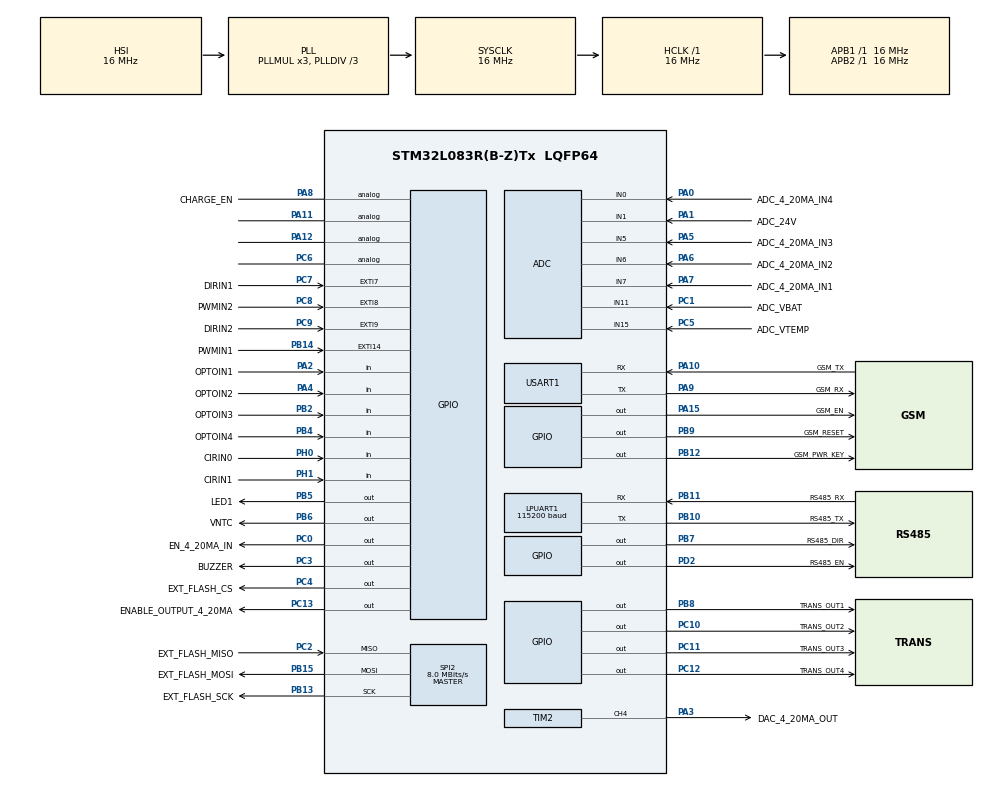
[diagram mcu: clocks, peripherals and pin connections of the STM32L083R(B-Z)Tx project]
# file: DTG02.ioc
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ADC.ClockPrescaler=ADC_CLOCK_SYNC_PCLK_DIV1
ADC.EOCSelection=ADC_EOC_SINGLE_CONV
ADC.LowPowerAutoPowerOff=DISABLE
ADC.LowPowerFrequencyMode=ENABLE
ADC.SamplingTime=ADC_SAMPLETIME_160CYCLES_5
Dma.Request0=USART1_RX
Dma.Request1=USART1_TX
Dma.USART1_RX.0.Direction=DMA_PERIPH_TO_MEMORY
Dma.USART1_RX.0.Instance=DMA1_Channel3
Dma.USART1_RX.0.MemDataAlignment=DMA_MDATAALIGN_BYTE
Dma.USART1_RX.0.MemInc=DMA_MINC_ENABLE
Dma.USART1_RX.0.Mode=DMA_CIRCULAR
Dma.USART1_RX.0.PeriphDataAlignment=DMA_PDATAALIGN_BYTE
Dma.USART1_RX.0.PeriphInc=DMA_PINC_DISABLE
Dma.USART1_RX.0.Priority=DMA_PRIORITY_LOW
Dma.USART1_TX.1.Direction=DMA_MEMORY_TO_PERIPH
Dma.USART1_TX.1.Instance=DMA1_Channel2
Dma.USART1_TX.1.MemDataAlignment=DMA_MDATAALIGN_BYTE
Dma.USART1_TX.1.MemInc=DMA_MINC_ENABLE
Dma.USART1_TX.1.Mode=DMA_NORMAL
Dma.USART1_TX.1.PeriphDataAlignment=DMA_PDATAALIGN_BYTE
Dma.USART1_TX.1.PeriphInc=DMA_PINC_DISABLE
Dma.USART1_TX.1.Priority=DMA_PRIORITY_LOW
IWDG.Prescaler=IWDG_PRESCALER_256
LPUART1.BaudRate=115200
LPUART1.WordLength=UART_WORDLENGTH_8B
Mcu.Family=STM32L0
Mcu.Name=STM32L083R(B-Z)Tx
Mcu.Package=LQFP64
NVIC.AES_RNG_LPUART1_IRQn=true\:0\:0\:false\:false\:true\:true\:true
NVIC.DMA1_Channel2_3_IRQn=true\:0\:0\:false\:false\:true\:false\:true
NVIC.EXTI4_15_IRQn=true\:0\:0\:false\:false\:true\:true\:true
NVIC.RTC_IRQn=true\:0\:0\:false\:false\:true\:true\:true
NVIC.USART1_IRQn=true\:0\:0\:false\:false\:true\:true\:true
PA0.GPIO_Label=ADC_4_20MA_IN4
PA0.Mode=IN0
PA0.Signal=ADC_IN0
PA1.GPIO_Label=ADC_24V
PA1.Mode=IN1
PA1.Signal=ADC_IN1
PA10.GPIO_Label=GSM_TX
PA10.Mode=Asynchronous
PA10.Signal=USART1_RX
PA11.Signal=GPIO_Analog
PA12.Signal=GPIO_Analog
PA13.Mode=Serial_Wire
PA13.Signal=SYS_SWDIO
PA14.Mode=Serial_Wire
PA14.Signal=SYS_SWCLK
PA15.GPIO_Label=GSM_EN
PA15.Signal=GPIO_Output
PA2.GPIO_Label=OPTOIN1
PA2.Signal=GPIO_Input
PA3.GPIO_Label=DAC_4_20MA_OUT
PA3.Signal=S_TIM2_CH4
PA4.GPIO_Label=OPTOIN2
PA4.Signal=GPIO_Input
PA5.GPIO_Label=ADC_4_20MA_IN3
PA5.Mode=IN5
PA5.Signal=ADC_IN5
PA6.GPIO_Label=ADC_4_20MA_IN2
PA6.Mode=IN6
PA6.Signal=ADC_IN6
PA7.GPIO_Label=ADC_4_20MA_IN1
PA7.Mode=IN7
PA7.Signal=ADC_IN7
PA8.GPIO_Label=CHARGE_EN
PA8.Signal=GPIO_Analog
PA9.GPIO_Label=GSM_RX
PA9.Mode=Asynchronous
PA9.Signal=USART1_TX
PB10.GPIO_Label=RS485_TX
PB10.Mode=Asynchronous
PB10.Signal=LPUART1_TX
PB11.GPIO_Label=RS485_RX
PB11.Mode=Asynchronous
PB11.Signal=LPUART1_RX
PB12.GPIO_Label=GSM_PWR_KEY
PB12.Signal=GPIO_Output
PB13.GPIO_Label=EXT_FLASH_SCK
PB13.Mode=Full_Duplex_Master
PB13.Signal=SPI2_SCK
PB14.GPIO_Label=PWMIN1
PB14.Signal=GPXTI14
PB15.GPIO_Label=EXT_FLASH_MOSI
PB15.Mode=Full_Duplex_Master
PB15.Signal=SPI2_MOSI
PB2.GPIO_Label=OPTOIN3
PB2.Signal=GPIO_Input
PB4.GPIO_Label=OPTOIN4
PB4.Signal=GPIO_Input
PB5.GPIO_Label=LED1
PB5.Signal=GPIO_Output
PB6.GPIO_Label=VNTC
PB6.Signal=GPIO_Output
PB7.GPIO_Label=RS485_DIR
PB7.Signal=GPIO_Output
PB8.GPIO_Label=TRANS_OUT1
PB8.Signal=GPIO_Output
PB9.GPIO_Label=GSM_RESET
PB9.Signal=GPIO_Output
PC0.GPIO_Label=EN_4_20MA_IN
PC0.Signal=GPIO_Output
PC1.GPIO_Label=ADC_VBAT
PC1.Mode=IN11
PC1.Signal=ADC_IN11
PC10.GPIO_Label=TRANS_OUT2
PC10.Signal=GPIO_Output
PC11.GPIO_Label=TRANS_OUT3
PC11.Signal=GPIO_Output
PC12.GPIO_Label=TRANS_OUT4
PC12.Signal=GPIO_Output
PC13.GPIO_Label=ENABLE_OUTPUT_4_20MA
PC13.Signal=GPIO_Output
PC14-OSC32_IN.Mode=LSE-External-Oscillator
PC14-OSC32_IN.Signal=RCC_OSC32_IN
PC15-OSC32_OUT.Mode=LSE-External-Oscillator
PC15-OSC32_OUT.Signal=RCC_OSC32_OUT
PC2.GPIO_Label=EXT_FLASH_MISO
PC2.Mode=Full_Duplex_Master
PC2.Signal=SPI2_MISO
PC3.GPIO_Label=BUZZER
PC3.Signal=GPIO_Output
PC4.GPIO_Label=EXT_FLASH_CS
PC4.Signal=GPIO_Output
PC5.GPIO_Label=ADC_VTEMP
PC5.Mode=IN15
PC5.Signal=ADC_IN15
PC6.Signal=GPIO_Analog
PC7.GPIO_Label=DIRIN1
PC7.Signal=GPXTI7
PC8.GPIO_Label=PWMIN2
PC8.Signal=GPXTI8
PC9.GPIO_Label=DIRIN2
PC9.Signal=GPXTI9
PD2.GPIO_Label=RS485_EN
PD2.Signal=GPIO_Output
PH0-OSC_IN.GPIO_Label=CIRIN0
PH0-OSC_IN.Signal=GPIO_Input
PH1-OSC_OUT.GPIO_Label=CIRIN1
PH1-OSC_OUT.Signal=GPIO_Input
ProjectManager.HeapSize=0x200
ProjectManager.StackSize=0x400
ProjectManager.TargetToolchain=MDK-ARM V5.27
RCC.AHBFreq_Value=16000000
RCC.APB1Freq_Value=16000000
RCC.APB1TimFreq_Value=16000000
RCC.APB2Freq_Value=16000000
RCC.APB2TimFreq_Value=16000000
RCC.HCLKFreq_Value=16000000
RCC.HSE_VALUE=8000000
RCC.HSI16_VALUE=16000000
RCC.HSI48_VALUE=48000000
RCC.HSI_VALUE=16000000
RCC.LSE_Drive_Capability=RCC_LSEDRIVE_MEDIUMLOW
RCC.MSIClockRange=RCC_MSIRANGE_6
RCC.MSI_VALUE=4194000
RCC.PLLDIV=RCC_PLLDIV_3
RCC.RTCClockSelectionVirtual=RCC_RTCCLKSOURCE_LSE
RCC.SYSCLKFreq_VALUE=16000000
RCC.SYSCLKSource=RCC_SYSCLKSOURCE_PLLCLK
RCC.VCOOutputFreq_Value=48000000
RTC.SynchPrediv=289
RTC.WakeUpClock-WakeUp=RTC_WAKEUPCLOCK_RTCCLK_DIV16
RTC.WakeUpCounter-WakeUp=18
SH.S_TIM2_CH4.0=TIM2_CH4,PWM Generation4 CH4
SPI2.CalculateBaudRate=8.0 MBits/s
SPI2.Direction=SPI_DIRECTION_2LINES
SPI2.Mode=SPI_MODE_MASTER
SPI2.VirtualType=VM_MASTER
TIM2.AutoReloadPreload=TIM_AUTORELOAD_PRELOAD_ENABLE
TIM2.Channel-PWM\ Generation4\ CH4=TIM_CHANNEL_4
TIM2.ClockDivision=TIM_CLOCKDIVISION_DIV1
TIM2.Period=4095
TIM2.Prescaler=1
USART1.VirtualMode-Asynchronous=VM_ASYNC
VP_ADC_TempSens_Input.Mode=IN-TempSens
VP_ADC_Vref_Input.Mode=IN-Vrefint
VP_IWDG_VS_IWDG.Mode=IWDG_Activate
VP_RTC_VS_RTC_Activate.Mode=RTC_Enabled
VP_RTC_VS_RTC_Calendar.Mode=RTC_Calendar
VP_RTC_VS_RTC_WakeUp_intern.Mode=WakeUp
VP_TIM2_VS_ClockSourceINT.Mode=Internal
board=custom

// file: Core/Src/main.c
/* USER CODE BEGIN Header */
/**
  ******************************************************************************
  * @file           : main.c
  * @brief          : Main program body
  ******************************************************************************
  * @attention
  *
  * <h2><center>&copy; Copyright (c) 2021 STMicroelectronics.
  * All rights reserved.</center></h2>
  *
  * This software component is licensed by ST under BSD 3-Clause license,
  * the "License"; You may not use this file except in compliance with the
  * License. You may obtain a copy of the License at:
  *                        opensource.org/licenses/BSD-3-Clause
  *
  ******************************************************************************
  */
/* USER CODE END Header */
#include "main.h"
#include "adc.h"
#include "dma.h"
#include "iwdg.h"
#include "usart.h"
#include "rtc.h"
#include "spi.h"
#include "tim.h"
#include "gpio.h"

/* USER CODE BEGIN Includes */
#include "app_eeprom.h"
#include "measure_input.h"
#include "lpf.h"
#include "stdbool.h"
#include "app_cli.h"
#include "app_wdt.h"
#include "app_sync.h"
#include "hardware_manager.h"
#include "app_bkup.h"
#include "control_output.h"
#include "gsm.h"
#include "hardware.h"
#include "modbus_master.h"
#include "string.h"
#include "sys_ctx.h"
#include "app_rtc.h"
#include "app_debug.h"
#include "app_spi_flash.h"
#include "ota_update.h"
#include "flash_if.h"
#include "version_control.h"
/* USER CODE END Includes */

/* USER CODE BEGIN PTD */
#define WAKEUP_RESET_WDT_IN_LOW_POWER_MODE            28000    // ( ~16s)
#define DEBUG_LOW_POWER                                 1
#define DISABLE_GPIO_ENTER_LOW_POWER_MODE               0
#define TEST_POWER_ALWAYS_TURN_OFF_GSM                  0
#define TEST_OUTPUT_4_20MA                              0
#define TEST_RS485                                      0
#define TEST_INPUT_4_20_MA                              0
#define MAX_DISCONNECTED_TIMEOUT_S                      60
#define TEST_BACKUP_REGISTER                            0
/* USER CODE END PTD */

/* USER CODE BEGIN PD */
#define GSM_ENABLE					1
/* USER CODE END PD */

void SystemClock_Config(void);

/* USER CODE BEGIN 0 */
/* memory for ummalloc */
uint8_t g_umm_heap[UMM_MALLOC_CFG_HEAP_SIZE];
static volatile uint32_t m_delay_afer_wakeup_from_deep_sleep_to_measure_data;
static void task_feed_wdt(void *arg);
static void gsm_mnr_task(void *arg);
static void info_task(void *arg);
volatile uint32_t led_blink_delay = 0;
void sys_config_low_power_mode(void);
extern volatile uint32_t measure_input_turn_on_in_4_20ma_power;
/* USER CODE END 0 */

int main(void)
{
  /* USER CODE BEGIN 1 */

	hardware_manager_get_reset_reason();
  /* USER CODE END 1 */

  /* MCU Configuration--------------------------------------------------------*/

  /* Reset of all peripherals, Initializes the Flash interface and the Systick. */
  HAL_Init();

  /* USER CODE BEGIN Init */
    app_eeprom_init();
	app_eeprom_config_data_t *eeprom_cfg = app_eeprom_read_config_data();
    sys_ctx_t *system = sys_ctx();
#if TEST_OUTPUT_4_20MA
	eeprom_cfg->io_enable.name.output_4_20ma_enable = 1;
    system->status.is_enter_test_mode = 1;
#endif
//#if TEST_INPUT_4_20_MA
//    eeprom_cfg->io_enable.name.input_4_20ma_enable = 1;
//    system->status.is_enter_test_mode = 1;
//#endif
  /* USER CODE END Init */

  /* Configure the system clock */
  SystemClock_Config();

  /* USER CODE BEGIN SysInit */
    __enable_irq();
#if 1
  /* USER CODE END SysInit */

  /* Initialize all configured peripherals */
  MX_GPIO_Init();
  MX_DMA_Init();
  MX_IWDG_Init();
  MX_RTC_Init();
  MX_ADC_Init();
  MX_USART1_UART_Init();
  MX_TIM2_Init();
  MX_LPUART1_UART_Init();
  MX_SPI2_Init();
  /* USER CODE BEGIN 2 */
#endif
//	HAL_ADC
//    __HAL_DBGMCU_FREEZE_IWDG();     // stop watchdog in debug mode
    ENABLE_INPUT_4_20MA_POWER(0);
    RS485_POWER_EN(0);
    for (uint32_t i = 0; i < 4; i++)
    {
        LED1(1);
        sys_delay_ms(20);
        LED1(0);
        sys_delay_ms(20);
    }
    LED1(0);

//	DEBUG_RAW(RTT_CTRL_CLEAR);
    gpio_config_input_as_wakeup_source();
    system->peripheral_running.name.flash_running = 1;
    system->peripheral_running.name.rs485_running = 1;
	app_cli_start();
	app_bkup_init();
    app_spi_flash_initialize();
	measure_input_initialize();
	control_ouput_init();
	adc_start();
	gsm_init_hw();
	BUZZER(0);
	app_sync_config_t config;
	config.get_ms = sys_get_ms;
	config.polling_interval_ms = 1;
	app_sync_sytem_init(&config);

	app_sync_register_callback(task_feed_wdt, 15000, SYNC_DRV_REPEATED, SYNC_DRV_SCOPE_IN_LOOP);
	app_sync_register_callback(gsm_mnr_task, 1000, SYNC_DRV_REPEATED, SYNC_DRV_SCOPE_IN_LOOP);
	app_sync_register_callback(info_task, 1000, SYNC_DRV_REPEATED, SYNC_DRV_SCOPE_IN_LOOP);

    ota_flash_cfg_t *ota_cfg = ota_update_get_config();

#if TEST_OUTPUT_4_20MA
	eeprom_cfg->io_enable.name.output_4_20ma_enable = 1;
	eeprom_cfg->output_4_20ma = 10;
	eeprom_cfg->io_enable.name.output_4_20ma_timeout_100ms = 100;
	control_output_dac_enable(1000000);
    system->status.is_enter_test_mode = 1;
    eeprom_cfg->io_enable.name.input_4_20ma_enable = 1;
#endif
#if TEST_INPUT_4_20_MA
    eeprom_cfg->io_enable.name.input_4_20ma_enable = 1;
    system->status.is_enter_test_mode = 1;
#endif
    DEBUG_INFO("Server addr %s\r\n", eeprom_cfg->server_addr);
    DEBUG_PRINTF("Build %s %s, version %s\r\nOTA flag 0x%08X, info %s\r\n", __DATE__, __TIME__,
                                                                            VERSION_CONTROL_FW,
                                                                            ota_cfg->flag, (uint8_t*)ota_cfg->reserve);
#if TEST_BACKUP_REGISTER
    for(uint32_t i = 0; i < 4; i++)
    {
        app_bkup_write_pulse_counter(i, i*2, i*3, i*4);
    }
    app_bkup_write_pulse_counter(0, 0, 0, 0);
#endif
  /* USER CODE END 2 */

  /* Infinite loop */
  /* USER CODE BEGIN WHILE */
  while (1)
  {
#if GSM_ENABLE
	gsm_hw_layer_run();
#endif

#if TEST_POWER_ALWAYS_TURN_OFF_GSM
    if (!gsm_data_layer_is_module_sleeping())
    {
        gsm_change_state(GSM_STATE_SLEEP);
    }
#endif
	control_ouput_task();
	measure_input_task();
	app_cli_poll();
	app_sync_polling_task();
	if (led_blink_delay)
	{
		LED1(1);
#ifdef DTG01
		LED2(1);
#endif
	}
	else
	{
		LED1(0);
#ifdef DTG01
		LED2(0);
#endif
	}
	if (system->status.is_enter_test_mode)
	{
		eeprom_cfg->io_enable.name.output_4_20ma_enable = 1;
		if (eeprom_cfg->output_4_20ma < 1.0f)
			eeprom_cfg->output_4_20ma = 10;
		eeprom_cfg->io_enable.name.output_4_20ma_timeout_100ms = 100;
		control_output_dac_enable(1000000);
		eeprom_cfg->io_enable.name.rs485_en = 1;
		ENABLE_INPUT_4_20MA_POWER(1);
        RS485_POWER_EN(1);
        usart_lpusart_485_control(1);
	}

    if (!eeprom_cfg->io_enable.name.rs485_en
        && system->status.is_enter_test_mode == 0)
    {
        system->peripheral_running.name.rs485_running = 0;
        usart_lpusart_485_control(0);
    }

    if (!eeprom_cfg->io_enable.name.input_4_20ma_enable)
    {
        ENABLE_INPUT_4_20MA_POWER(0);
        system->peripheral_running.name.wait_for_input_4_20ma_power_on = 0;
        measure_input_turn_on_in_4_20ma_power = 0;
    }

    if (gsm_data_layer_is_module_sleeping())
    {
        system->peripheral_running.name.gsm_running = 0;
        if (system->peripheral_running.name.flash_running)
        {
            app_spi_flash_shutdown();
            spi_deinit();
            system->peripheral_running.name.flash_running = 0;
        }

        usart1_control(false);
        GSM_PWR_EN(0);
        GSM_PWR_RESET(0);
        GSM_PWR_KEY(0);
    }
    else
    {
        system->peripheral_running.name.gsm_running = 1;
    }

    if (ota_update_is_running())
    {
//        system->status.sleep_time_s = 0;
        system->status.disconnect_timeout_s = 0;
    }

	if (eeprom_cfg->io_enable.name.rs485_en)
	{
		RS485_POWER_EN(eeprom_cfg->io_enable.name.rs485_en);
	}

    if (system->peripheral_running.value == 0)
    {
        adc_stop();
        if (system->status.is_enter_test_mode == 0)
        {
            sys_config_low_power_mode();
        }
    }
    BUZZER(0);
#ifdef WDT_ENABLE
    LL_IWDG_ReloadCounter(IWDG);
#endif
//	__WFI();
    /* USER CODE END WHILE */

  }
}

void SystemClock_Config(void)
{
  RCC_OscInitTypeDef RCC_OscInitStruct = {0};
  RCC_ClkInitTypeDef RCC_ClkInitStruct = {0};
  RCC_PeriphCLKInitTypeDef PeriphClkInit = {0};

  /** Configure the main internal regulator output voltage
  */
  __HAL_PWR_VOLTAGESCALING_CONFIG(PWR_REGULATOR_VOLTAGE_SCALE1);
  /** Configure LSE Drive Capability
  */
  HAL_PWR_EnableBkUpAccess();
  __HAL_RCC_LSEDRIVE_CONFIG(RCC_LSEDRIVE_MEDIUMLOW);
  /** Initializes the RCC Oscillators according to the specified parameters
  * in the RCC_OscInitTypeDef structure.
  */
  RCC_OscInitStruct.OscillatorType = RCC_OSCILLATORTYPE_HSI|RCC_OSCILLATORTYPE_LSI
                              |RCC_OSCILLATORTYPE_LSE;
  RCC_OscInitStruct.LSEState = RCC_LSE_ON;
  RCC_OscInitStruct.HSIState = RCC_HSI_ON;
  RCC_OscInitStruct.HSICalibrationValue = RCC_HSICALIBRATION_DEFAULT;
  RCC_OscInitStruct.LSIState = RCC_LSI_ON;
  RCC_OscInitStruct.PLL.PLLState = RCC_PLL_ON;
  RCC_OscInitStruct.PLL.PLLSource = RCC_PLLSOURCE_HSI;
  RCC_OscInitStruct.PLL.PLLMUL = RCC_PLLMUL_3;
  RCC_OscInitStruct.PLL.PLLDIV = RCC_PLLDIV_3;
  if (HAL_RCC_OscConfig(&RCC_OscInitStruct) != HAL_OK)
  {
    Error_Handler();
  }
  /** Initializes the CPU, AHB and APB buses clocks
  */
  RCC_ClkInitStruct.ClockType = RCC_CLOCKTYPE_HCLK|RCC_CLOCKTYPE_SYSCLK
                              |RCC_CLOCKTYPE_PCLK1|RCC_CLOCKTYPE_PCLK2;
  RCC_ClkInitStruct.SYSCLKSource = RCC_SYSCLKSOURCE_PLLCLK;
  RCC_ClkInitStruct.AHBCLKDivider = RCC_SYSCLK_DIV1;
  RCC_ClkInitStruct.APB1CLKDivider = RCC_HCLK_DIV1;
  RCC_ClkInitStruct.APB2CLKDivider = RCC_HCLK_DIV1;

  if (HAL_RCC_ClockConfig(&RCC_ClkInitStruct, FLASH_LATENCY_0) != HAL_OK)
  {
    Error_Handler();
  }
  PeriphClkInit.PeriphClockSelection = RCC_PERIPHCLK_USART1|RCC_PERIPHCLK_LPUART1
                              |RCC_PERIPHCLK_RTC;
  PeriphClkInit.Usart1ClockSelection = RCC_USART1CLKSOURCE_PCLK2;
  PeriphClkInit.Lpuart1ClockSelection = RCC_LPUART1CLKSOURCE_PCLK1;
  PeriphClkInit.RTCClockSelection = RCC_RTCCLKSOURCE_LSE;
  if (HAL_RCCEx_PeriphCLKConfig(&PeriphClkInit) != HAL_OK)
  {
    Error_Handler();
  }
}

/* USER CODE BEGIN 4 */

uint32_t sys_get_ms()
{
	return uwTick;
}

void sys_delay_ms(uint32_t ms)
{
	uint32_t current_tick = HAL_GetTick();

	while (1)
	{
#ifdef WDT_ENABLE
        LL_IWDG_ReloadCounter(IWDG);
#endif
//		__WFI();
		if (HAL_GetTick() - current_tick >= (uint32_t)ms)
		{
			break;
		}
	}
}

static void task_feed_wdt(void *arg)
{
#ifdef WDT_ENABLE
	LL_IWDG_ReloadCounter(IWDG);
#endif
}

static void gsm_mnr_task(void *arg)
{
	gsm_manager_tick();
    sys_ctx_t *ctx = sys_ctx();
    if (gsm_data_layer_is_module_sleeping())
    {
//        ctx->status.sleep_time_s++;
        ctx->status.disconnect_timeout_s = 0;
    }
    else
    {
        if (ctx->status.disconnect_timeout_s++ > MAX_DISCONNECTED_TIMEOUT_S)
        {
            DEBUG_ERROR("GSM disconnected for a longtime\r\n");
            app_eeprom_config_data_t *eeprom_cfg = app_eeprom_read_config_data();
            measure_input_save_all_data_to_flash();
            ctx->status.disconnect_timeout_s = 0;
            if (ctx->status.disconnected_count++ > 24)
            {
                ctx->status.disconnected_count = 0;
                if (strlen((char*)eeprom_cfg->phone) > 9
                    && eeprom_cfg->io_enable.name.warning)
                {
                    gsm_send_sms((char*)eeprom_cfg->phone, "Server lost");
                }
                else
                {
                    gsm_change_state(GSM_STATE_SLEEP);
                }
            }
            else
            {
                gsm_change_state(GSM_STATE_SLEEP);
            }
        }
    }
}

static void info_task(void *arg)
{
	static uint32_t i = 0;
    sys_ctx_t *system = sys_ctx();

	if (system->status.is_enter_test_mode)
	{
#if TEST_RS485
            uint8_t result;
            uint8_t input_result[2];

            modbus_master_reset(1000);

             // read input registers function test
             // slave address 0x01, two consecutive addresses are register 0x2
            result = modbus_master_read_input_register(0x01,0x02, 2);
            if (result == 0x00)
            {
                input_result[0] = modbus_master_get_response_buffer(0x00);
                input_result[1] = modbus_master_get_response_buffer(0x01);
                DEBUG_INFO("Modbus rx %02X-%02X\r\n", input_result[0], input_result[1]);
            }
            else
            {
                DEBUG_ERROR("Modbus failed\r\n");
            }
#endif
        i = 5;
	}
    if (i++ > 4)
	{
		i = 0;
		adc_input_value_t *adc = adc_get_input_result();
        rtc_date_time_t time;
        app_rtc_get_time(&time);
        char tmp[48];
        char *p = tmp;
        for (uint32_t i = 0; i < 4; i++)
        {
            p += sprintf(p, "(%.2f),", adc->in_4_20ma_in[i]);
        }
        for (uint32_t i = 0; i < 4; i++)
        {
            p += sprintf(p, "IN%u-%u,", i+1, measure_input_current_data()->input_on_off[i]);
        }

		DEBUG_INFO("vdda %umv, bat_mv %u-%u, vin-24 %umV, 4-20mA %s temp %u\r\n",
                    adc->vdda_mv,
					adc->bat_mv, adc->bat_percent,
					adc->vin_24,
					tmp,
					adc->temp);
	}
}

void sys_turn_on_led(uint32_t delay_ms)
{
    led_blink_delay = delay_ms;
}

static bool m_wakeup_timer_run = false;
void sys_config_low_power_mode(void)
{
    // estimate RTC wakeup time
    if (m_wakeup_timer_run == false)
    {
        sys_ctx_t *ctx = sys_ctx();

#if DEBUG_LOW_POWER
        __DBGMCU_CLK_ENABLE() ; // (RCC->APB2ENR |= (RCC_APB2ENR_DBGMCUEN))
        SET_BIT(DBGMCU->CR, DBGMCU_CR_DBG_STOP);        // Enable debug stop mode
#endif

#ifdef WDT_ENABLE
        LL_IWDG_ReloadCounter(IWDG);
#endif

        uint32_t counter_before_sleep = app_rtc_get_counter();
        DEBUG_VERBOSE("Before sleep - counter %u\r\n", counter_before_sleep);
        HAL_RTCEx_DeactivateWakeUpTimer(&hrtc);
        if (HAL_RTCEx_SetWakeUpTimer_IT(&hrtc, WAKEUP_RESET_WDT_IN_LOW_POWER_MODE, RTC_WAKEUPCLOCK_RTCCLK_DIV16) != HAL_OK)
        {
            Error_Handler();
        }
        __HAL_PWR_CLEAR_FLAG(PWR_FLAG_WU);

        /* Disable GPIOs clock */
        LL_IOP_GRP1_DisableClock(LL_IOP_GRP1_PERIPH_GPIOA);
        LL_IOP_GRP1_DisableClock(LL_IOP_GRP1_PERIPH_GPIOB);
        LL_IOP_GRP1_DisableClock(LL_IOP_GRP1_PERIPH_GPIOC);
        LL_IOP_GRP1_DisableClock(LL_IOP_GRP1_PERIPH_GPIOH);

        // Suspend tick
        SysTick->CTRL &= ~SysTick_CTRL_TICKINT_Msk;

//          GPIO_InitTypeDef GPIO_InitStructure;
        __HAL_RCC_PWR_CLK_ENABLE();

        /* Enable the Ultra Low Power mode */
        SET_BIT(PWR->CR, PWR_CR_ULP);

        /* Enable the fast wake up from Ultra low power mode */
        SET_BIT(PWR->CR, PWR_CR_FWU);

        /* Select MSI as system clock source after Wake Up from Stop mode */
        __HAL_RCC_WAKEUPSTOP_CLK_CONFIG(RCC_STOP_WAKEUPCLOCK_MSI);

          /* Enter Stop Mode */
        HAL_PWR_EnterSTOPMode(PWR_LOWPOWERREGULATOR_ON, PWR_STOPENTRY_WFI);

        __HAL_PWR_CLEAR_FLAG(PWR_FLAG_WU);

#if 1
        /* Enable GPIOs clock */
        LL_IOP_GRP1_EnableClock(LL_IOP_GRP1_PERIPH_GPIOA);
        LL_IOP_GRP1_EnableClock(LL_IOP_GRP1_PERIPH_GPIOB);
        LL_IOP_GRP1_EnableClock(LL_IOP_GRP1_PERIPH_GPIOC);
        LL_IOP_GRP1_EnableClock(LL_IOP_GRP1_PERIPH_GPIOH);
#endif
        uint32_t counter_after_sleep = app_rtc_get_counter();
        uint32_t diff = counter_after_sleep-counter_before_sleep;
        uwTick += diff*1000;
        DEBUG_VERBOSE("Afer sleep - counter %u, diff %u\r\n", counter_after_sleep, diff);

//        ctx->status.sleep_time_s += diff;
        HAL_RTCEx_DeactivateWakeUpTimer(&hrtc);
        m_wakeup_timer_run = false;
        DEBUG_VERBOSE("Wakeup\r\n");

        // Resume tick
        SysTick->CTRL  |= SysTick_CTRL_TICKINT_Msk;

        SystemClock_Config();
#ifdef WDT_ENABLE
        LL_IWDG_ReloadCounter(IWDG);
#endif
    }
    else
    {
        DEBUG_WARN("RTC timer still running\r\n");
    }
}

void HAL_RTCEx_WakeUpTimerEventCallback(RTC_HandleTypeDef *hrtc)
{
    m_wakeup_timer_run = false;
    DEBUG_VERBOSE("Wakeup timer event callback\r\n");
    HAL_RTCEx_DeactivateWakeUpTimer(hrtc);
    __HAL_PWR_CLEAR_FLAG(PWR_FLAG_WU);
}
/* USER CODE END 4 */

void Error_Handler(void)
{
  /* USER CODE BEGIN Error_Handler_Debug */
    DEBUG_ERROR("Error handle\r\n");
    __disable_irq();
    NVIC_SystemReset();
    while (1)
    {
    }
  /* USER CODE END Error_Handler_Debug */
}

#ifdef  USE_FULL_ASSERT
/**
  * @brief  Reports the name of the source file and the source line number
  *         where the assert_param error has occurred.
  * @param  file: pointer to the source file name
  * @param  line: assert_param error line source number
  * @retval None
  */
void assert_failed(uint8_t *file, uint32_t line)
{
  /* USER CODE BEGIN 6 */
  /* User can add his own implementation to report the file name and line number,
     ex: printf("Wrong parameters value: file %s on line %d\r\n", file, line) */
	DEBUG_ERROR("Assert failed %s, line %u\r\n", file, line);
    NVIC_SystemReset();
	while (1);
  /* USER CODE END 6 */
}
#endif /* USE_FULL_ASSERT */

/************************ (C) COPYRIGHT STMicroelectronics *****END OF FILE****/
